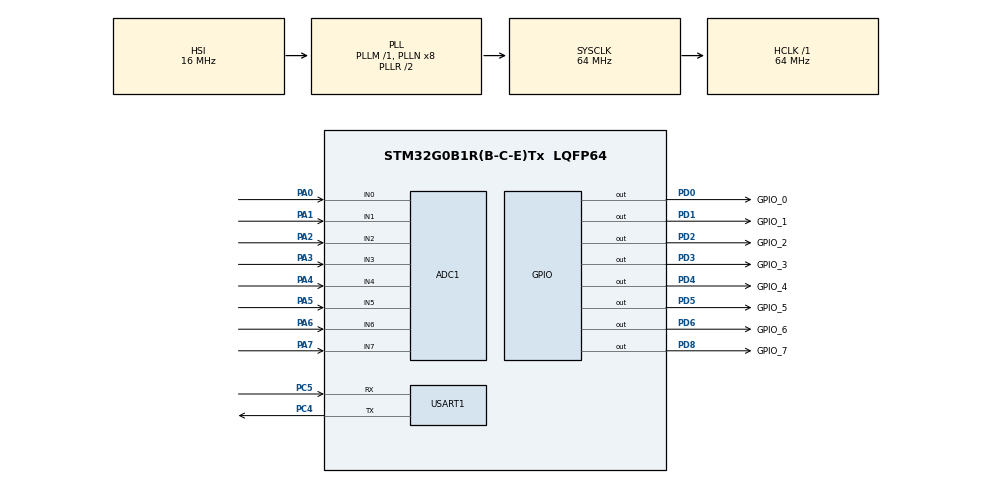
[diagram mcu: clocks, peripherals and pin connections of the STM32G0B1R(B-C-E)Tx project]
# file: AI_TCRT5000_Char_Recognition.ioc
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ADC1.Channel-0\#ChannelRegularConversion=ADC_CHANNEL_0
ADC1.Channel-1\#ChannelRegularConversion=ADC_CHANNEL_1
ADC1.Channel-2\#ChannelRegularConversion=ADC_CHANNEL_2
ADC1.Channel-3\#ChannelRegularConversion=ADC_CHANNEL_3
ADC1.Channel-4\#ChannelRegularConversion=ADC_CHANNEL_4
ADC1.Channel-5\#ChannelRegularConversion=ADC_CHANNEL_5
ADC1.Channel-6\#ChannelRegularConversion=ADC_CHANNEL_6
ADC1.Channel-7\#ChannelRegularConversion=ADC_CHANNEL_7
ADC1.NbrOfConversionFlag=8
ADC1.Rank-0\#ChannelRegularConversion=1
ADC1.Rank-1\#ChannelRegularConversion=2
ADC1.Rank-2\#ChannelRegularConversion=3
ADC1.Rank-3\#ChannelRegularConversion=4
ADC1.Rank-4\#ChannelRegularConversion=5
ADC1.Rank-5\#ChannelRegularConversion=6
ADC1.Rank-6\#ChannelRegularConversion=7
ADC1.Rank-7\#ChannelRegularConversion=8
ADC1.SamplingTime-0\#ChannelRegularConversion=ADC_SAMPLINGTIME_COMMON_1
ADC1.SamplingTime-1\#ChannelRegularConversion=ADC_SAMPLINGTIME_COMMON_1
ADC1.SamplingTime-2\#ChannelRegularConversion=ADC_SAMPLINGTIME_COMMON_1
ADC1.SamplingTime-3\#ChannelRegularConversion=ADC_SAMPLINGTIME_COMMON_1
ADC1.SamplingTime-4\#ChannelRegularConversion=ADC_SAMPLINGTIME_COMMON_1
ADC1.SamplingTime-5\#ChannelRegularConversion=ADC_SAMPLINGTIME_COMMON_1
ADC1.SamplingTime-6\#ChannelRegularConversion=ADC_SAMPLINGTIME_COMMON_1
ADC1.SamplingTime-7\#ChannelRegularConversion=ADC_SAMPLINGTIME_COMMON_1
ADC1.SamplingTimeCommon1=ADC_SAMPLETIME_79CYCLES_5
ADC1.ScanConvMode=ADC_SCAN_DISABLE
ADC1.SelectedChannel=ADC_CHANNEL_0|ADC_CHANNEL_1|ADC_CHANNEL_2|ADC_CHANNEL_3|ADC_CHANNEL_4|ADC_CHANNEL_5|ADC_CHANNEL_6|ADC_CHANNEL_7
ADC1.master=1
Mcu.Family=STM32G0
Mcu.Name=STM32G0B1R(B-C-E)Tx
Mcu.Package=LQFP64
NVIC.TIM6_DAC_LPTIM1_IRQn=true\:0\:0\:false\:false\:true\:true\:false\:false
PA0.Mode=IN0
PA0.Signal=ADC1_IN0
PA1.Mode=IN1
PA1.Signal=ADC1_IN1
PA13.Mode=Serial_Wire
PA13.Signal=SYS_SWDIO
PA14-BOOT0.Mode=Serial_Wire
PA14-BOOT0.Signal=SYS_SWCLK
PA2.Mode=IN2
PA2.Signal=ADC1_IN2
PA3.Mode=IN3
PA3.Signal=ADC1_IN3
PA4.Mode=IN4
PA4.Signal=ADC1_IN4
PA5.Mode=IN5
PA5.Signal=ADC1_IN5
PA6.Mode=IN6
PA6.Signal=ADC1_IN6
PA7.Mode=IN7
PA7.Signal=ADC1_IN7
PC4.Mode=Asynchronous
PC4.Signal=USART1_TX
PC5.Mode=Asynchronous
PC5.Signal=USART1_RX
PD0.GPIO_Label=GPIO_0
PD0.Signal=GPIO_Output
PD1.GPIO_Label=GPIO_1
PD1.Signal=GPIO_Output
PD2.GPIO_Label=GPIO_2
PD2.Signal=GPIO_Output
PD3.GPIO_Label=GPIO_3
PD3.Signal=GPIO_Output
PD4.GPIO_Label=GPIO_4
PD4.Signal=GPIO_Output
PD5.GPIO_Label=GPIO_5
PD5.Signal=GPIO_Output
PD6.GPIO_Label=GPIO_6
PD6.Signal=GPIO_Output
PD8.GPIO_Label=GPIO_7
PD8.Signal=GPIO_Output
ProjectManager.HeapSize=0x200
ProjectManager.StackSize=0x400
ProjectManager.TargetToolchain=CMake
RCC.ADCFreq_Value=64000000
RCC.AHBFreq_Value=64000000
RCC.CortexFreq_Value=64000000
RCC.EXTERNAL_CLOCK_VALUE=48000
RCC.HCLKFreq_Value=64000000
RCC.HSE_VALUE=8000000
RCC.HSI48_VALUE=48000000
RCC.HSI_VALUE=16000000
RCC.LSE_VALUE=32768
RCC.SYSCLKFreq_VALUE=64000000
RCC.SYSCLKSource=RCC_SYSCLKSOURCE_PLLCLK
RCC.USBFreq_Value=48000000
RCC.VCOOutputFreq_Value=128000000
TIM6.AutoReloadPreload=TIM_AUTORELOAD_PRELOAD_DISABLE
TIM6.Prescaler=64-1
TIM6.Period=1999
USART1.VirtualMode-Asynchronous=VM_ASYNC
VP_SYS_VS_DBSignals.Mode=DisableDeadBatterySignals
VP_TIM6_VS_ClockSourceINT.Mode=Enable_Timer
board=custom

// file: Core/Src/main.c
/* USER CODE BEGIN Header */
/**
  ******************************************************************************
  * @file           : main.c
  * @brief          : Main program body
  ******************************************************************************
  * @attention
  *
  * Copyright (c) 2026 STMicroelectronics.
  * All rights reserved.
  *
  * This software is licensed under terms that can be found in the LICENSE file
  * in the root directory of this software component.
  * If no LICENSE file comes with this software, it is provided AS-IS.
  *
  ******************************************************************************
  */
/* USER CODE END Header */
#include "main.h"
#include "adc.h"
#include "tim.h"
#include "usart.h"
#include "gpio.h"

/* USER CODE BEGIN Includes */
#include "ai_scan.h"
/* USER CODE END Includes */

void SystemClock_Config(void);

/* USER CODE BEGIN 0 */
#include <stdio.h>
#include <string.h>
#include "tim.h"

#define ADC_CH_COUNT  8u   /* 8 路传感器 */

/* LED 控制脚映射：CH0..CH7 -> PD0..PD6、PD8（GPIO_0..GPIO_7，见 main.h） */
static const uint16_t led_pins[ADC_CH_COUNT] = {
  GPIO_0_Pin, GPIO_1_Pin, GPIO_2_Pin, GPIO_3_Pin,
  GPIO_4_Pin, GPIO_5_Pin, GPIO_6_Pin, GPIO_7_Pin
};

/* ADC 通道号映射：CH0..CH7 -> ADC1_IN0..IN7（PA0..PA7），由 CubeMX 配置为模拟输入 */
static const uint32_t adc_ch[ADC_CH_COUNT] = {
  ADC_CHANNEL_0, ADC_CHANNEL_1, ADC_CHANNEL_2, ADC_CHANNEL_3,
  ADC_CHANNEL_4, ADC_CHANNEL_5, ADC_CHANNEL_6, ADC_CHANNEL_7
};

/* 一行数据缓冲、行就绪标志、行号、当前采样通道 */
static uint16_t adc_row[ADC_CH_COUNT];
static volatile uint32_t row_ready = 0;
static uint16_t row_cnt = 0;
static uint32_t step = 0;

/* 通过 USART1 发送字符串 */
static void uart_print(const char *s)
{
  HAL_UART_Transmit(&huart1, (uint8_t *)s, (uint16_t)strlen(s), 100);
}

/* 发送一行二进制帧：AA 55 | 行号u16(LE) | 8×u16(LE) | 校验和u8 */
static void send_row_frame(void)
{
  uint8_t frame[2 + 2 + 2 * ADC_CH_COUNT + 1];
  uint8_t csum = 0;
  frame[0] = 0xAA;
  frame[1] = 0x55;
  frame[2] = (uint8_t)(row_cnt & 0xFFu);
  frame[3] = (uint8_t)((row_cnt >> 8) & 0xFFu);
  for (uint32_t i = 0; i < ADC_CH_COUNT; i++)
  {
    frame[4 + 2 * i]     = (uint8_t)(adc_row[i] & 0xFFu);
    frame[4 + 2 * i + 1] = (uint8_t)((adc_row[i] >> 8) & 0xFFu);
  }
  for (uint32_t i = 2; i < sizeof(frame) - 1; i++)
  {
    csum += frame[i];
  }
  frame[sizeof(frame) - 1] = csum;
  HAL_UART_Transmit(&huart1, frame, sizeof(frame), 100);
}

/* TIM6 更新中断回调（CubeMX 生成的 TIM6_DAC_LPTIM1_IRQHandler -> HAL_TIM_IRQHandler 调用）：
   分时驱动——每次只点亮一路发射管，测其对应通道，然后切下一路。
   LED[step] 自上一拍起已点亮约一个周期(TIM6 周期)，采样时已稳定。 */
void HAL_TIM_PeriodElapsedCallback(TIM_HandleTypeDef *htim)
{
  if (htim == &htim6)
  {
    uint32_t n = step;
    ADC_ChannelConfTypeDef sConfig = {0};

    /* 1. 用 HAL 把 rank1 配置为当前通道（单次转换，不存在扫描溢出问题） */
    sConfig.Channel = adc_ch[n];
    sConfig.Rank = ADC_REGULAR_RANK_1;
    sConfig.SamplingTime = ADC_SAMPLINGTIME_COMMON_1;
    HAL_ADC_ConfigChannel(&hadc1, &sConfig);

    /* 2. 单次转换 + 读取 */
    if (HAL_ADC_Start(&hadc1) == HAL_OK)
    {
      if (HAL_ADC_PollForConversion(&hadc1, 10) == HAL_OK)
      {
        adc_row[n] = (uint16_t)HAL_ADC_GetValue(&hadc1);
      }
      else
      {
        adc_row[n] = 0xFFFFu;   /* 超时标记，便于发现故障 */
      }
      HAL_ADC_Stop(&hadc1);
    }

    /* 3. 关当前发射管，点亮下一路（下一拍采样它时已稳定） */
    HAL_GPIO_WritePin(GPIOD, led_pins[n], GPIO_PIN_RESET);
    step = (n + 1) & 7u;
    HAL_GPIO_WritePin(GPIOD, led_pins[step], GPIO_PIN_SET);

    /* 4. 8 路采完 = 一行完成 */
    if (n == 7u)
    {
      row_cnt++;
      row_ready = 1;
    }
  }
}
/* USER CODE END 0 */

int main(void)
{

  /* MCU Configuration--------------------------------------------------------*/

  /* Reset of all peripherals, Initializes the Flash interface and the Systick. */
  HAL_Init();

  /* Configure the system clock */
  SystemClock_Config();

  /* Initialize all configured peripherals */
  MX_GPIO_Init();
  MX_ADC1_Init();
  MX_USART1_UART_Init();
  MX_TIM6_Init();
  /* USER CODE BEGIN 2 */
uart_print("\r\n=== TCRT5000 TIM6 time-division scan ===\r\n");

  /* TIM6 初始化（CubeMX 配置生成；你在 CubeMX 配好 TIM6 并 Generate 后，
     这里会多一次自动生成的调用，重复调用无害） */
  MX_TIM6_Init();

  /* 启动 TIM6（周期在 CubeMX 的 TIM6 参数里配置，当前 2ms）。
     先点亮第 0 路：首个节拍采样它时已稳定。 */
  HAL_GPIO_WritePin(GPIOD, led_pins[0], GPIO_PIN_SET);
  HAL_TIM_Base_Start_IT(&htim6);

  /* 初始化板载 AI 扫描识别模块（int8 网络 + LED 数码管） */
  AI_Scan_Init();
  /* USER CODE END 2 */

  /* Infinite loop */
  while (1)
  {

    /* USER CODE BEGIN 3 */
    /* 数码管显示到时（5s）自动熄灭 */
    AI_Scan_Tick();

    /* 有新的行数据：上送二进制帧，并交给 AI 模块做缓冲/扫描结束检测/推理 */
    if (row_ready)
    {
      send_row_frame();
      AI_Scan_FeedRow(adc_row);
      row_ready = 0;
    }
  }
  /* USER CODE END 3 */
}

void SystemClock_Config(void)
{
  RCC_OscInitTypeDef RCC_OscInitStruct = {0};
  RCC_ClkInitTypeDef RCC_ClkInitStruct = {0};

  /** Configure the main internal regulator output voltage
  */
  HAL_PWREx_ControlVoltageScaling(PWR_REGULATOR_VOLTAGE_SCALE1);

  /** Initializes the RCC Oscillators according to the specified parameters
  * in the RCC_OscInitTypeDef structure.
  */
  RCC_OscInitStruct.OscillatorType = RCC_OSCILLATORTYPE_HSI;
  RCC_OscInitStruct.HSIState = RCC_HSI_ON;
  RCC_OscInitStruct.HSIDiv = RCC_HSI_DIV1;
  RCC_OscInitStruct.HSICalibrationValue = RCC_HSICALIBRATION_DEFAULT;
  RCC_OscInitStruct.PLL.PLLState = RCC_PLL_ON;
  RCC_OscInitStruct.PLL.PLLSource = RCC_PLLSOURCE_HSI;
  RCC_OscInitStruct.PLL.PLLM = RCC_PLLM_DIV1;
  RCC_OscInitStruct.PLL.PLLN = 8;
  RCC_OscInitStruct.PLL.PLLP = RCC_PLLP_DIV2;
  RCC_OscInitStruct.PLL.PLLQ = RCC_PLLQ_DIV2;
  RCC_OscInitStruct.PLL.PLLR = RCC_PLLR_DIV2;
  if (HAL_RCC_OscConfig(&RCC_OscInitStruct) != HAL_OK)
  {
    Error_Handler();
  }

  /** Initializes the CPU, AHB and APB buses clocks
  */
  RCC_ClkInitStruct.ClockType = RCC_CLOCKTYPE_HCLK|RCC_CLOCKTYPE_SYSCLK
                              |RCC_CLOCKTYPE_PCLK1;
  RCC_ClkInitStruct.SYSCLKSource = RCC_SYSCLKSOURCE_PLLCLK;
  RCC_ClkInitStruct.AHBCLKDivider = RCC_SYSCLK_DIV1;
  RCC_ClkInitStruct.APB1CLKDivider = RCC_HCLK_DIV1;

  if (HAL_RCC_ClockConfig(&RCC_ClkInitStruct, FLASH_LATENCY_2) != HAL_OK)
  {
    Error_Handler();
  }
}

void Error_Handler(void)
{
  __disable_irq();
  while (1)
  {
  }
}
